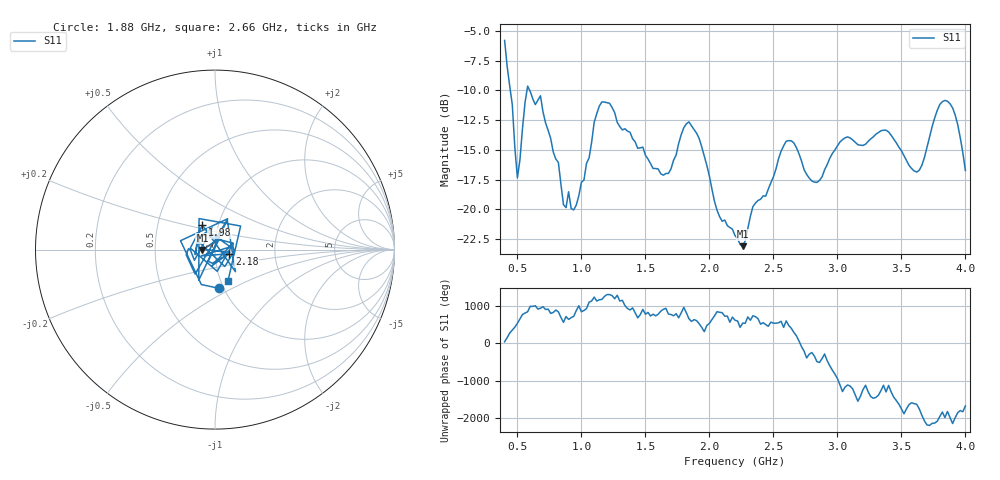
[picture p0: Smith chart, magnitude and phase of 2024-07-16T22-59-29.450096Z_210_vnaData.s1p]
!Created with skrf (http://scikit-rf.org).
# Hz S RI R 50.0
!freq ReS11 ImS11
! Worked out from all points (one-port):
!   181 points, 400 MHz to 4 GHz, reference 50 ohm
!   lowest |S11| = -23.1 dB at 2.26 GHz (marker M1), VSWR 1.15, Z = 43.5 - j0.223 ohm
!   |S11| at or under -10 dB: 444.5 MHz to 574.8 MHz (130.3 MHz wide, 25.6 % of centre); 595.9 MHz to end of sweep
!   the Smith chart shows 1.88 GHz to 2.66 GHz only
!   S11 on the Smith chart (normalised r, x): 1.88 GHz: 0.95, -0.43; 1.98 GHz: 0.84, +0.23; 2.18 GHz: 1.17, -0.06; 2.66 GHz: 1.08, -0.39
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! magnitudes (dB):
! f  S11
! 400 MHz  -5.8
! 460 MHz  -11.2
! 500 MHz  -17.4
! 580 MHz  -9.7
! 680 MHz  -10.5
! 820 MHz  -16.1
! 860 MHz  -19.6
! 960 MHz  -19.6
! 1.16 GHz  -11.0
! 1.3 GHz  -13.0
! 1.64 GHz  -17.1
! 1.76 GHz  -14.5
! 1.88 GHz  -13.3
! 1.98 GHz  -16.3
! 2.08 GHz  -20.6
! 2.18 GHz  -21.7
! 2.2 GHz  -22.2
! 2.26 GHz  -23.1
! 2.34 GHz  -19.8
! 2.66 GHz  -14.4
! 2.84 GHz  -17.7
! 3.1 GHz  -14.0
! 3.38 GHz  -13.4
! 3.56 GHz  -16.3
! 3.64 GHz  -16.7
! 3.84 GHz  -10.9
! 3.92 GHz  -12.1
! 4 GHz  -16.7
